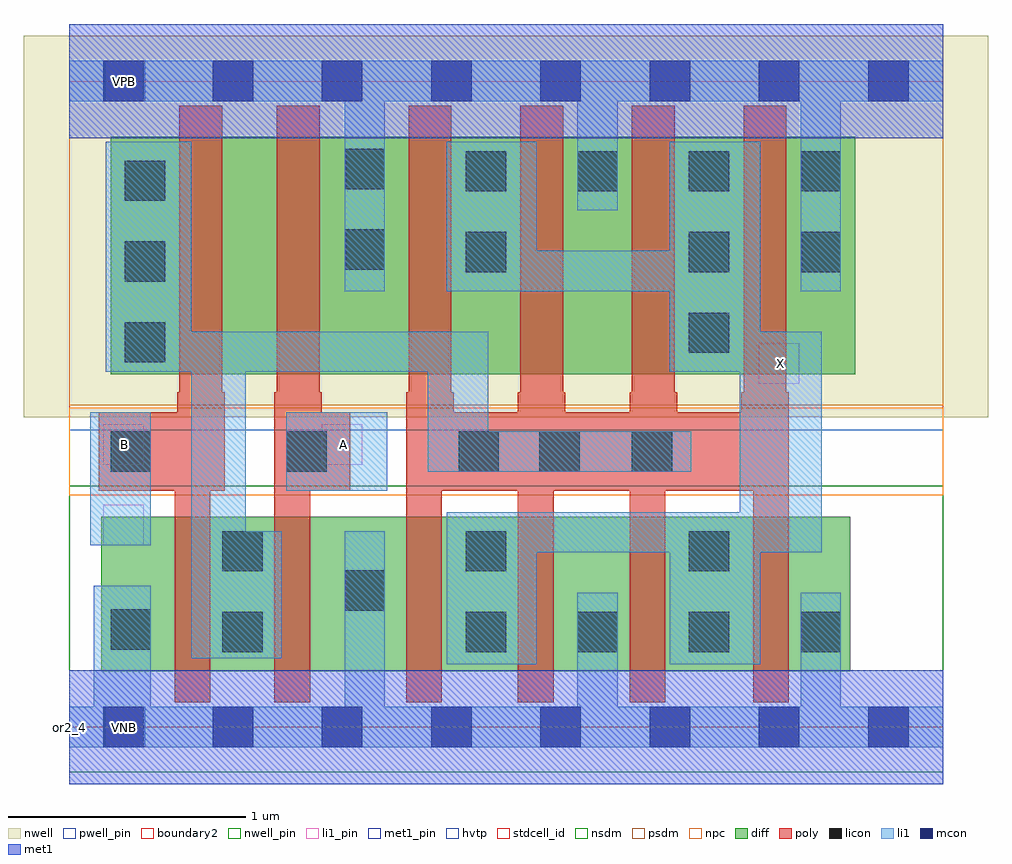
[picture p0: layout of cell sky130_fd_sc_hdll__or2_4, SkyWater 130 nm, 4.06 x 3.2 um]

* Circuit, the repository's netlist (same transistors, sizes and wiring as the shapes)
* Copyright 2020 The SkyWater PDK Authors
*
* Licensed under the Apache License, Version 2.0 (the "License");
* you may not use this file except in compliance with the License.
* You may obtain a copy of the License at
*
*     https://www.apache.org/licenses/LICENSE-2.0
*
* Unless required by applicable law or agreed to in writing, software
* distributed under the License is distributed on an "AS IS" BASIS,
* WITHOUT WARRANTIES OR CONDITIONS OF ANY KIND, either express or implied.
* See the License for the specific language governing permissions and
* limitations under the License.
*
* SPDX-License-Identifier: Apache-2.0

.SUBCKT sky130_fd_sc_hdll__or2_4 A B VGND VNB VPB VPWR X
*.PININFO A:I B:I VGND:I VNB:I VPB:I VPWR:I X:O
MMP0 VPWR A sndPA VPB sky130_fd_pr__pfet_01v8_hvt m=1 w=1.0U l=0.18U mult=1 sa=0.265
+ sb=0.265 sd=0.28 area=0.063 perim=1.14
MMP1 sndPA B y VPB sky130_fd_pr__pfet_01v8_hvt m=1 w=1.0U l=0.18U mult=1 sa=0.265
+ sb=0.265 sd=0.28 area=0.063 perim=1.14
MMIP2 X y VPWR VPB sky130_fd_pr__pfet_01v8_hvt m=4 w=1.0U l=0.18U mult=1 sa=0.265
+ sb=0.265 sd=0.28 area=0.063 perim=1.14
MMN0 y A VGND VNB sky130_fd_pr__nfet_01v8 m=1 w=0.65U l=0.15U mult=1 sa=0.265 sb=0.265
+ sd=0.28 area=0.063 perim=1.14
MMN1 y B VGND VNB sky130_fd_pr__nfet_01v8 m=1 w=0.65U l=0.15U mult=1 sa=0.265 sb=0.265
+ sd=0.28 area=0.063 perim=1.14
MMIN2 X y VGND VNB sky130_fd_pr__nfet_01v8 m=4 w=0.65U l=0.15U mult=1 sa=0.265
+ sb=0.265 sd=0.28 area=0.063 perim=1.14
.ENDS sky130_fd_sc_hdll__or2_4

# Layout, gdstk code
import gdstk
lib = gdstk.Library(unit=1e-6, precision=1e-09)
def R(c, l, rs):  # rectangles x0, y0, x1, y1
    for r in rs: c.add(gdstk.rectangle(r[:2], r[2:], *l))
def A(c, l, x, y, w, h, nx, ny, dx, dy):  # array of equal rectangles
    R(c, l, [(x+i*dx, y+j*dy, x+i*dx+w, y+j*dy+h) for i in range(nx) for j in range(ny)])
def P(c, l, *ps):  # polygons
    for p in ps: c.add(gdstk.Polygon(p, *l))
nwell_pin = (64, 16)
nwell = (64, 20)
diff = (65, 20)
poly = (66, 20)
licon = (66, 44)
li1_pin = (67, 16)
li1 = (67, 20)
mcon = (67, 44)
met1_pin = (68, 16)
met1 = (68, 20)
hvtp = (78, 44)
stdcell_id = (81, 4)
nsdm = (93, 44)
psdm = (94, 20)
npc = (95, 20)
pwell_pin = (122, 16)
boundary2 = (236, 0)

sky130_fd_sc_hdll__or2_4 = lib.new_cell('sky130_fd_sc_hdll__or2_4')
R(sky130_fd_sc_hdll__or2_4, nwell_pin, [(0.15,2.635,0.32,2.805)])
R(sky130_fd_sc_hdll__or2_4, nwell, [(-0.19,1.305,3.87,2.91)])
R(sky130_fd_sc_hdll__or2_4, diff, [(0.135,0.235,3.29,0.885), (0.175,1.485,3.31,2.485)])
P(sky130_fd_sc_hdll__or2_4, poly, [(0.655,1.41),(0.645,1.41),(0.645,2.615),(0.465,2.615),(0.465,1.41),(0.455,1.41),(0.455,1.325),(0.125,1.325),(0.125,0.995),(0.445,0.995),(0.445,0.105),(0.595,0.105),(0.595,0.995),(0.655,0.995)],
  [(1.185,1.325),(1.065,1.325),(1.065,1.41),(1.055,1.41),(1.055,2.615),(0.875,2.615),(0.875,1.41),(0.865,1.41),(0.865,0.105),(1.015,0.105),(1.015,0.995),(1.185,0.995)],
  [(3.03,1.41),(3.02,1.41),(3.02,2.615),(2.84,2.615),(2.84,1.41),(2.83,1.41),(2.83,1.325),(2.56,1.325),(2.56,1.41),(2.55,1.41),(2.55,2.615),(2.37,2.615),(2.37,1.41),(2.36,1.41),(2.36,1.325),(2.09,1.325),(2.09,1.41),(2.08,1.41),(2.08,2.615),(1.9,2.615),(1.9,1.41),(1.89,1.41),(1.89,1.325),(1.62,1.325),(1.62,1.41),(1.61,1.41),(1.61,2.615),(1.43,2.615),(1.43,1.41),(1.42,1.41),(1.42,0.105),(1.57,0.105),(1.57,0.995),(1.89,0.995),(1.89,0.105),(2.04,0.105),(2.04,0.995),(2.36,0.995),(2.36,0.105),(2.51,0.105),(2.51,0.995),(2.88,0.995),(2.88,0.105),(3.03,0.105)])
A(sky130_fd_sc_hdll__or2_4, licon, 1.67, 0.315, 0.17, 0.17, 4, 2, 0.47, 1.94)
A(sky130_fd_sc_hdll__or2_4, licon, 0.235, 1.535, 0.17, 0.17, 1, 3, 0, 0.34)
R(sky130_fd_sc_hdll__or2_4, licon, [(0.645,0.315,0.815,0.485), (0.175,0.325,0.345,0.495), (1.16,0.49,1.33,0.66), (0.645,0.655,0.815,0.825), (1.67,0.655,1.84,0.825), (2.61,0.655,2.78,0.825), (0.175,1.075,0.345,1.245), (0.915,1.075,1.085,1.245), (1.64,1.075,1.81,1.245), (1.98,1.075,2.15,1.245), (2.37,1.075,2.54,1.245), (2.61,1.575,2.78,1.745), (1.67,1.915,1.84,2.085), (2.61,1.915,2.78,2.085), (3.08,1.915,3.25,2.085), (1.16,1.925,1.33,2.095), (1.16,2.265,1.33,2.435)])
R(sky130_fd_sc_hdll__or2_4, li1_pin, [(0.145,0.765,0.315,0.935), (0.145,1.105,0.315,1.275), (1.065,1.105,1.235,1.275), (2.905,1.445,3.075,1.615)])
R(sky130_fd_sc_hdll__or2_4, li1, [(0.09,0.765,0.345,1.325), (0.915,0.995,1.34,1.325)])
P(sky130_fd_sc_hdll__or2_4, li1, [(3.68,2.805),(0,2.805),(0,2.635),(1.16,2.635),(1.16,1.835),(1.33,1.835),(1.33,2.635),(2.14,2.635),(2.14,2.175),(2.31,2.175),(2.31,2.635),(3.08,2.635),(3.08,1.835),(3.25,1.835),(3.25,2.635),(3.68,2.635)],
  [(2.62,1.245),(1.765,1.245),(1.765,1.665),(0.515,1.665),(0.515,2.465),(0.155,2.465),(0.155,1.495),(0.515,1.495),(0.515,0.29),(0.895,0.29),(0.895,0.825),(0.745,0.825),(0.745,1.495),(1.51,1.495),(1.51,1.075),(2.62,1.075)],
  [(3.68,0.085),(3.25,0.085),(3.25,0.565),(3.08,0.565),(3.08,0.085),(2.31,0.085),(2.31,0.565),(2.14,0.565),(2.14,0.085),(1.33,0.085),(1.33,0.825),(1.16,0.825),(1.16,0.085),(0.345,0.085),(0.345,0.595),(0.105,0.595),(0.105,0.085),(0,0.085),(0,-0.085),(3.68,-0.085)],
  [(3.17,1.665),(2.91,1.665),(2.91,2.465),(2.53,2.465),(2.53,2.005),(1.97,2.005),(1.97,2.465),(1.59,2.465),(1.59,1.835),(2.53,1.835),(2.53,1.495),(2.825,1.495),(2.825,0.905),(1.59,0.905),(1.59,0.265),(1.97,0.265),(1.97,0.735),(2.53,0.735),(2.53,0.265),(2.91,0.265),(2.91,0.735),(3.17,0.735)])
A(sky130_fd_sc_hdll__or2_4, mcon, 0.145, -0.085, 0.17, 0.17, 8, 2, 0.46, 2.72)
R(sky130_fd_sc_hdll__or2_4, met1_pin, [(0.15,-0.085,0.32,0.085), (0.15,2.635,0.32,2.805)])
R(sky130_fd_sc_hdll__or2_4, met1, [(0,-0.24,3.68,0.24), (0,2.48,3.68,2.96)])
R(sky130_fd_sc_hdll__or2_4, hvtp, [(0,1.25,3.68,2.72)])
R(sky130_fd_sc_hdll__or2_4, stdcell_id, [(0,0,3.68,2.72)])
R(sky130_fd_sc_hdll__or2_4, nsdm, [(0,-0.19,3.68,1.015)])
R(sky130_fd_sc_hdll__or2_4, psdm, [(0,1.355,3.68,2.91)])
R(sky130_fd_sc_hdll__or2_4, npc, [(0,0.975,3.68,1.345)])
R(sky130_fd_sc_hdll__or2_4, pwell_pin, [(0.15,-0.085,0.32,0.085)])
R(sky130_fd_sc_hdll__or2_4, boundary2, [(0,0,3.68,2.72)])
sky130_fd_sc_hdll__or2_4.add(gdstk.Label('X', (2.995,1.53), layer=67, texttype=5))
sky130_fd_sc_hdll__or2_4.add(gdstk.Label('A', (1.155,1.19), layer=67, texttype=5))
sky130_fd_sc_hdll__or2_4.add(gdstk.Label('B', (0.235,1.19), layer=67, texttype=5))
sky130_fd_sc_hdll__or2_4.add(gdstk.Label('VNB', (0.235,0), layer=64, texttype=59))
sky130_fd_sc_hdll__or2_4.add(gdstk.Label('VPB', (0.235,2.72), layer=64, texttype=5))
sky130_fd_sc_hdll__or2_4.add(gdstk.Label('VGND', (0.23,0), layer=68, texttype=5))
sky130_fd_sc_hdll__or2_4.add(gdstk.Label('VPWR', (0.235,2.72), layer=68, texttype=5))
sky130_fd_sc_hdll__or2_4.add(gdstk.Label('or2_4', (0,0), layer=83, texttype=44))

lib.write_gds('sky130_fd_sc_hdll__or2_4.gds')
